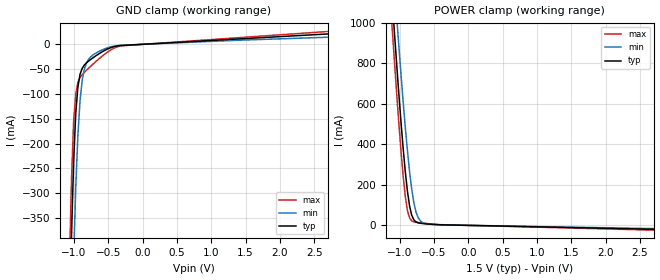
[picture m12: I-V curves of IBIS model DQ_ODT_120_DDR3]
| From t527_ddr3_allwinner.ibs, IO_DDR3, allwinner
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|   Model DQ_ODT_120_DDR3
[Model] DQ_ODT_120_DDR3
Model_type Input
Polarity   Non-Inverting
Enable   Active-High
Vinl =  0.750V
Vinh =  0.750V
C_comp   1.575pF   1.540pF   1.618pF
C_comp_power_clamp   0.509pF   0.491pF   0.530pF
C_comp_gnd_clamp   0.802pF   0.783pF   0.826pF
[Model Spec]
Vinh   0.750V   0.712V   0.787V
Vinl   0.750V   0.712V   0.787V
[Temperature Range]   25.000   0.125k   -40.000
[Voltage Range]   1.500V   1.425V   1.575V
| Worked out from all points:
|   GND clamp passes 1 mA (typ) near -0.13 V on its own axis
|   POWER clamp passes 1 mA (typ) near -0.14 V on its own axis
[GND_clamp]
|Voltage   I(typ)   I(min)   I(max)
-1.5V     -3.544A    -3.631A    -3.525A
-1.066V   -578.6mA   -809.4mA   -450.5mA
-1.035V   -387.1mA   -609.3mA   -272.2mA
-1.004V   -237.8mA   -432.9mA   -156mA
-973mV    -139.6mA   -289.2mA   -99.47mA
-942mV    -86.21mA   -183.7mA   -76.81mA
-911mV    -60.72mA   -114.6mA   -67.03mA
-880mV    -48.57mA   -73.57mA   -61.26mA
-818mV    -37.45mA   -37.79mA   -52.42mA
-694mV    -24.44mA   -18.83mA   -36.42mA
-291mV    -2.256mA   -1.794mA   -2.81mA
3V        23.26mA    15.65mA    28.76mA
[POWER_clamp]
|Voltage   I(typ)   I(min)   I(max)
-1.5V     3.136A     3.332A     3.026A
-1.135V   1.24A      1.47A      1.102A
-1.104V   1.086A     1.319A     945.1mA
-1.073V   934.2mA    1.169A     791.1mA
-1.042V   786.1mA    1.022A     641.4mA
-1.011V   642.7mA    879.4mA    497.5mA
-918mV    263.4mA    482.6mA    141.5mA
-887mV    167.2mA    367.3mA    72.39mA
-825mV    50.4mA     179mA      22.53mA
-732mV    12.86mA    38.32mA    13.78mA
-608mV    7.323mA    7.642mA    9.152mA
3V        -21.52mA   -17.69mA   -26.13mA
